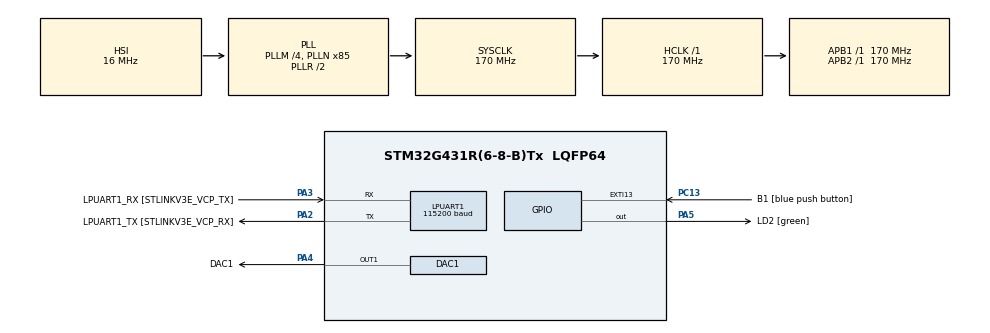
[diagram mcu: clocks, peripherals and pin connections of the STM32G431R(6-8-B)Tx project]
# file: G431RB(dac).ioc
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LPUART1.BaudRate=115200
LPUART1.WordLength=UART_WORDLENGTH_8B
Mcu.Family=STM32G4
Mcu.Name=STM32G431R(6-8-B)Tx
Mcu.Package=LQFP64
NVIC.PriorityGroup=NVIC_PRIORITYGROUP_4
PA13.GPIO_Label=T_SWDIO
PA13.Mode=Serial_Wire
PA13.Signal=SYS_JTMS-SWDIO
PA14.GPIO_Label=T_SWCLK
PA14.Mode=Serial_Wire
PA14.Signal=SYS_JTCK-SWCLK
PA2.GPIO_Label=LPUART1_TX [STLINKV3E_VCP_RX]
PA2.Mode=Asynchronous
PA2.Signal=LPUART1_TX
PA3.GPIO_Label=LPUART1_RX [STLINKV3E_VCP_TX]
PA3.Mode=Asynchronous
PA3.Signal=LPUART1_RX
PA4.GPIO_Label=DAC1
PA4.Signal=COMP_DAC11_group
PA5.GPIO_Label=LD2 [green]
PA5.Signal=GPIO_Output
PB3.GPIO_Label=T_SWO
PB3.Signal=SYS_JTDO-SWO
PC13.GPIO_Label=B1 [blue push button]
PC13.Signal=GPXTI13
PC14-OSC32_IN.Mode=LSE-External-Oscillator
PC14-OSC32_IN.Signal=RCC_OSC32_IN
PC15-OSC32_OUT.Mode=LSE-External-Oscillator
PC15-OSC32_OUT.Signal=RCC_OSC32_OUT
PF0-OSC_IN.Mode=HSE-External-Oscillator
PF0-OSC_IN.Signal=RCC_OSC_IN
PF1-OSC_OUT.Mode=HSE-External-Oscillator
PF1-OSC_OUT.Signal=RCC_OSC_OUT
ProjectManager.HeapSize=0x200
ProjectManager.StackSize=0x400
ProjectManager.TargetToolchain=MDK-ARM V5.32
RCC.ADC12Freq_Value=170000000
RCC.AHBFreq_Value=170000000
RCC.APB1Freq_Value=170000000
RCC.APB1TimFreq_Value=170000000
RCC.APB2Freq_Value=170000000
RCC.APB2TimFreq_Value=170000000
RCC.CortexFreq_Value=170000000
RCC.EXTERNAL_CLOCK_VALUE=12288000
RCC.HCLKFreq_Value=170000000
RCC.HSE_VALUE=24000000
RCC.HSI48_VALUE=48000000
RCC.HSI_VALUE=16000000
RCC.PLLM=RCC_PLLM_DIV4
RCC.PLLN=85
RCC.RTCClockSelection=RCC_RTCCLKSOURCE_LSE
RCC.SYSCLKFreq_VALUE=170000000
RCC.SYSCLKSource=RCC_SYSCLKSOURCE_PLLCLK
RCC.USBFreq_Value=170000000
RCC.VCOOutputFreq_Value=340000000
SH.COMP_DAC11_group.0=DAC1_OUT1,DAC_OUT1
VP_SYS_VS_DBSignals.Mode=DisableDeadBatterySignals
board=NUCLEO-G431RB

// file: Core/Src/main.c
/* USER CODE BEGIN Header */
/**
  ******************************************************************************
  * @file           : main.c
  * @brief          : Main program body
  ******************************************************************************
  * @attention
  *
  * Copyright (c) 2024 STMicroelectronics.
  * All rights reserved.
  *
  * This software is licensed under terms that can be found in the LICENSE file
  * in the root directory of this software component.
  * If no LICENSE file comes with this software, it is provided AS-IS.
  *
  ******************************************************************************
  */
/* USER CODE END Header */
#include "main.h"
#include "dac.h"
#include "usart.h"
#include "gpio.h"
#include "math.h"

/* USER CODE BEGIN PM */
uint32_t SinData[256]={2048, 2098, 2149, 2199, 2250, 2300, 2350, 2399, 2449, 2498, 2548, 2596, 2645, 2693, 2741, 2788, 2835, 2881, 2927, 2972, 3017, 3061, 3105, 3148, 3190, 3231, 3272, 3312, 3351, 3390, 3428, 3465, 3501, 3536, 3570, 3603, 3636, 3667, 3697, 3727, 3755, 3783, 3809, 3834, 3858, 3881, 3903, 3924, 3944, 3962, 3980, 3996, 4011, 4025, 4037, 4049, 4059, 4068, 4075, 4082, 4087, 4091, 4094, 4095, 4095, 4095, 4093, 4089, 4085, 4079, 4072, 4063, 4054, 4043, 4031, 4018, 4003, 3988, 3971, 3953, 3934, 3914, 3892, 3870, 3846, 3822, 3796, 3769, 3741, 3712, 3682, 3651, 3620, 3587, 3553, 3518, 3483, 3446, 3409, 3371, 3332, 3292, 3252, 3211, 3169, 3126, 3083, 3039, 2995, 2950, 2904, 2858, 2811, 2764, 2717, 2669, 2621, 2572, 2523, 2474, 2424,2375, 2325, 2275, 2224, 2174, 2124, 2073, 2023, 1972, 1922, 1872, 1821, 1771, 1721, 1672, 1622, 1573, 1524, 1475, 1427, 1379, 1332, 1285, 1238, 1192, 1146, 1101, 1057, 1013, 970, 927, 885, 844, 804, 764, 725, 687, 650, 613, 578, 543, 509, 476, 445, 414, 384, 355, 327, 300, 274, 250, 226, 204, 182, 162, 143, 125, 108, 93, 78, 65, 53, 42, 33, 24, 17, 11, 7, 3, 1, 0, 0, 2, 5, 9, 14, 21, 28, 37, 47, 59, 71, 85, 100, 116, 134, 152, 172, 193, 215, 238, 262, 287, 313, 341, 369, 399, 429, 460, 493, 526, 560, 595, 631, 668, 706, 745, 784, 824, 865, 906, 948, 991, 1035, 1079, 1124, 1169, 1215, 1261, 1308, 1355, 1403, 1451, 1500, 1548, 1598, 1647, 1697, 1746, 1796, 1846, 1897, 1947, 1998, 2048};
uint32_t i[3]={1241,2482,3723};
/* USER CODE END PM */

/* USER CODE BEGIN PV */
	double DAC_Data=0.0;
/* USER CODE END PV */

void SystemClock_Config(void);

int main(void)
{

  /* MCU Configuration--------------------------------------------------------*/

  /* Reset of all peripherals, Initializes the Flash interface and the Systick. */
  HAL_Init();

  /* Configure the system clock */
  SystemClock_Config();

  /* Initialize all configured peripherals */
  MX_GPIO_Init();
  MX_DAC1_Init();
  MX_LPUART1_UART_Init();
  /* USER CODE BEGIN 2 */
	HAL_DAC_Start(&hdac1 , DAC_CHANNEL_1);
  /* USER CODE END 2 */

  /* Infinite loop */
  while (1)
  {
//		for(int i=0;i<10;i++)
//      {
//				HAL_DAC_SetValue(&hdac1,DAC_CHANNEL_1,DAC_ALIGN_12B_R,i*4096/10);  //设置DAC输出电压 = 0.33*i
//				DAC_Data = HAL_DAC_GetValue(&hdac1,DAC_CHANNEL_1);             //读取DAC的数字量
//				HAL_Delay(1000);                                              //延时1s
//      }
      SinWave();
  }
}

void SystemClock_Config(void)
{
  RCC_OscInitTypeDef RCC_OscInitStruct = {0};
  RCC_ClkInitTypeDef RCC_ClkInitStruct = {0};

  /** Configure the main internal regulator output voltage
  */
  HAL_PWREx_ControlVoltageScaling(PWR_REGULATOR_VOLTAGE_SCALE1_BOOST);

  /** Initializes the RCC Oscillators according to the specified parameters
  * in the RCC_OscInitTypeDef structure.
  */
  RCC_OscInitStruct.OscillatorType = RCC_OSCILLATORTYPE_HSI;
  RCC_OscInitStruct.HSIState = RCC_HSI_ON;
  RCC_OscInitStruct.HSICalibrationValue = RCC_HSICALIBRATION_DEFAULT;
  RCC_OscInitStruct.PLL.PLLState = RCC_PLL_ON;
  RCC_OscInitStruct.PLL.PLLSource = RCC_PLLSOURCE_HSI;
  RCC_OscInitStruct.PLL.PLLM = RCC_PLLM_DIV4;
  RCC_OscInitStruct.PLL.PLLN = 85;
  RCC_OscInitStruct.PLL.PLLP = RCC_PLLP_DIV2;
  RCC_OscInitStruct.PLL.PLLQ = RCC_PLLQ_DIV2;
  RCC_OscInitStruct.PLL.PLLR = RCC_PLLR_DIV2;
  if (HAL_RCC_OscConfig(&RCC_OscInitStruct) != HAL_OK)
  {
    Error_Handler();
  }

  /** Initializes the CPU, AHB and APB buses clocks
  */
  RCC_ClkInitStruct.ClockType = RCC_CLOCKTYPE_HCLK|RCC_CLOCKTYPE_SYSCLK
                              |RCC_CLOCKTYPE_PCLK1|RCC_CLOCKTYPE_PCLK2;
  RCC_ClkInitStruct.SYSCLKSource = RCC_SYSCLKSOURCE_PLLCLK;
  RCC_ClkInitStruct.AHBCLKDivider = RCC_SYSCLK_DIV1;
  RCC_ClkInitStruct.APB1CLKDivider = RCC_HCLK_DIV1;
  RCC_ClkInitStruct.APB2CLKDivider = RCC_HCLK_DIV1;

  if (HAL_RCC_ClockConfig(&RCC_ClkInitStruct, FLASH_LATENCY_4) != HAL_OK)
  {
    Error_Handler();
  }
}

/* USER CODE BEGIN 4 */
float x=0;
	uint32_t y=0;
void SquareWave()
	{
        HAL_DAC_SetValue(&hdac1, DAC_CHANNEL_1, DAC_ALIGN_12B_R, 4095);  // 设置DAC输出到高电压
        HAL_Delay(50);

        HAL_DAC_SetValue(&hdac1, DAC_CHANNEL_1, DAC_ALIGN_12B_R, 1);   // 设置DAC输出到低电压
        HAL_Delay(50);
}
void SinWave()
{
		for(int x=0;x<sizeof(i)/sizeof(i[0]);x++){
			HAL_DAC_SetValue(&hdac1,DAC_CHANNEL_1,DAC_ALIGN_12B_R,i[x]);
			HAL_Delay(1000);
			HAL_Delay(1000);
			HAL_Delay(1000);
			HAL_Delay(1000);
			HAL_Delay(1000);
			HAL_Delay(1000);
			HAL_Delay(1000);
			HAL_Delay(1000);
			HAL_Delay(1000);
			HAL_Delay(1000);
		}

//		while(x<2*3.14159)
//		{
//			y=(int) 4096*sin((double)x);
//			HAL_DAC_SetValue(&hdac1,DAC_CHANNEL_1,DAC_ALIGN_12B_R,y);
//			x=x+0.01f;
//			for(int temp1;temp1<1000;temp1++)
//			{
//				for(int temp2;temp2<170;temp2++)
//				{
//					;
//				}
//			}
//		}
}
/* USER CODE END 4 */

void Error_Handler(void)
{
  __disable_irq();
  while (1)
  {
  }
}
